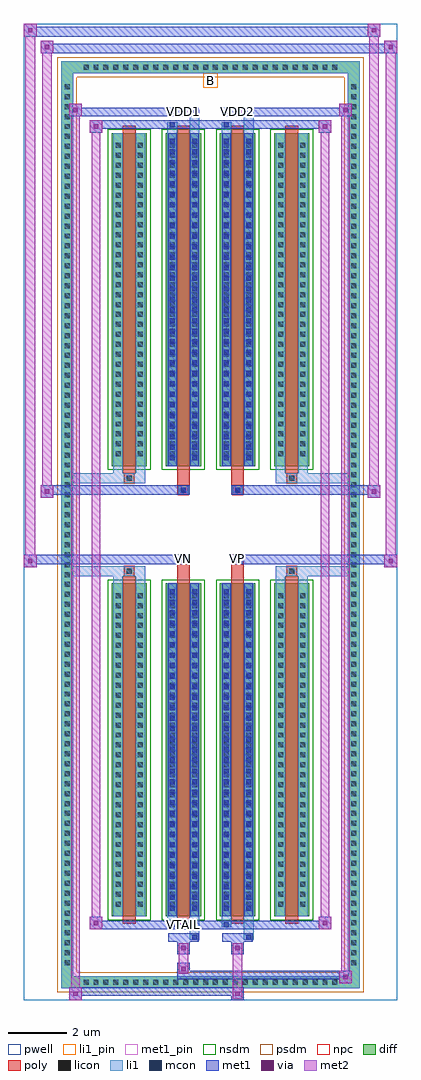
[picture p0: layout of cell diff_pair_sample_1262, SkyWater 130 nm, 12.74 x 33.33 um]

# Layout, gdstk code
import gdstk
lib = gdstk.Library(unit=1e-6, precision=5e-09)
def R(c, l, rs):  # rectangles x0, y0, x1, y1
    for r in rs: c.add(gdstk.rectangle(r[:2], r[2:], *l))
def A(c, l, x, y, w, h, nx, ny, dx, dy):  # array of equal rectangles
    R(c, l, [(x+i*dx, y+j*dy, x+i*dx+w, y+j*dy+h) for i in range(nx) for j in range(ny)])
def P(c, l, *ps):  # polygons
    for p in ps: c.add(gdstk.Polygon(p, *l))
pwell = (64, 44)
diff = (65, 20)
poly = (66, 20)
licon = (66, 44)
li1_pin = (67, 16)
li1 = (67, 20)
mcon = (67, 44)
met1_pin = (68, 16)
met1 = (68, 20)
via = (68, 44)
met2 = (69, 20)
nsdm = (93, 44)
psdm = (94, 20)
npc = (95, 20)

diff_pair_sample_1262 = lib.new_cell('diff_pair_sample_1262')
R(diff_pair_sample_1262, pwell, [(-6.37,-16.23,6.37,17.1), (-3.69,-14.42,-0.01,-0.82), (0.01,-14.42,3.69,-0.82), (-3.69,0.82,-0.01,14.42), (0.01,0.82,3.69,14.42)])
A(diff_pair_sample_1262, diff, -4.455, -15.83, 0.41, 0.41, 26, 2, 0.34, 31.25)
A(diff_pair_sample_1262, diff, -5.1, -15.165, 0.41, 0.41, 1, 89, 0, 0.34)
A(diff_pair_sample_1262, diff, 4.69, -15.165, 0.41, 0.41, 1, 89, 0, 0.34)
A(diff_pair_sample_1262, diff, -3.38, -13.375, 1.21, 11.37, 4, 2, 1.85, 15.38)
R(diff_pair_sample_1262, diff, [(-4.455,-15.83,4.455,-15.42), (-5.1,-15.165,-4.69,15.165), (4.69,-15.165,5.1,15.165), (-4.455,15.42,4.455,15.83)])
P(diff_pair_sample_1262, diff, [(5.1,15.83),(-5.1,15.83),(-5.1,-15.42),(-4.69,-15.42),(-4.69,15.42),(4.69,15.42),(4.69,-15.42),(-4.69,-15.42),(-5.1,-15.42),(-5.1,-15.83),(5.1,-15.83)])
A(diff_pair_sample_1262, poly, -2.99, -13.625, 0.43, 11.87, 4, 2, 1.85, 15.38)
R(diff_pair_sample_1262, poly, [(-2.94,-1.755,-2.61,-1.425), (-2.94,-1.755,-2.61,-1.425), (-1.14,-1.755,-0.71,-1.35), (0.71,-1.755,1.14,-1.35), (2.61,-1.755,2.94,-1.425), (2.61,-1.755,2.94,-1.425), (-1.14,-1.35,-0.71,-1.02), (-1.09,-1.35,-0.76,-1.02), (0.71,-1.35,1.14,-1.02), (0.76,-1.35,1.09,-1.02), (-1.14,1.02,-0.71,1.35), (-1.09,1.02,-0.76,1.35), (0.71,1.02,1.14,1.35), (0.76,1.02,1.09,1.35), (-1.14,1.35,-0.71,1.755), (0.71,1.35,1.14,1.755), (-2.94,1.425,-2.61,1.755), (-2.94,1.425,-2.61,1.755), (2.61,1.425,2.94,1.755), (2.61,1.425,2.94,1.755)])
A(diff_pair_sample_1262, licon, -4.335, -15.71, 0.17, 0.17, 26, 2, 0.34, 31.25)
A(diff_pair_sample_1262, licon, -4.98, -15.045, 0.17, 0.17, 1, 89, 0, 0.34)
A(diff_pair_sample_1262, licon, 4.81, -15.045, 0.17, 0.17, 1, 89, 0, 0.34)
A(diff_pair_sample_1262, licon, -3.24, -13.045, 0.17, 0.17, 1, 32, 0, 0.34)
A(diff_pair_sample_1262, licon, -2.48, -13.045, 0.17, 0.17, 1, 32, 0, 0.34)
A(diff_pair_sample_1262, licon, -1.39, -13.045, 0.17, 0.17, 1, 32, 0, 0.34)
A(diff_pair_sample_1262, licon, -0.63, -13.045, 0.17, 0.17, 1, 32, 0, 0.34)
A(diff_pair_sample_1262, licon, 0.46, -13.045, 0.17, 0.17, 1, 32, 0, 0.34)
A(diff_pair_sample_1262, licon, 1.22, -13.045, 0.17, 0.17, 1, 32, 0, 0.34)
A(diff_pair_sample_1262, licon, 2.31, -13.045, 0.17, 0.17, 1, 32, 0, 0.34)
A(diff_pair_sample_1262, licon, 3.07, -13.045, 0.17, 0.17, 1, 32, 0, 0.34)
A(diff_pair_sample_1262, licon, -3.24, 2.335, 0.17, 0.17, 1, 32, 0, 0.34)
A(diff_pair_sample_1262, licon, -2.48, 2.335, 0.17, 0.17, 1, 32, 0, 0.34)
A(diff_pair_sample_1262, licon, -1.39, 2.335, 0.17, 0.17, 1, 32, 0, 0.34)
A(diff_pair_sample_1262, licon, -0.63, 2.335, 0.17, 0.17, 1, 32, 0, 0.34)
A(diff_pair_sample_1262, licon, 0.46, 2.335, 0.17, 0.17, 1, 32, 0, 0.34)
A(diff_pair_sample_1262, licon, 1.22, 2.335, 0.17, 0.17, 1, 32, 0, 0.34)
A(diff_pair_sample_1262, licon, 2.31, 2.335, 0.17, 0.17, 1, 32, 0, 0.34)
A(diff_pair_sample_1262, licon, 3.07, 2.335, 0.17, 0.17, 1, 32, 0, 0.34)
R(diff_pair_sample_1262, licon, [(-2.86,-1.675,-2.69,-1.505), (2.69,-1.675,2.86,-1.505), (-1.01,-1.27,-0.84,-1.1), (0.84,-1.27,1.01,-1.1), (-1.01,1.1,-0.84,1.27), (0.84,1.1,1.01,1.27), (-2.86,1.505,-2.69,1.675), (2.69,1.505,2.86,1.675)])
R(diff_pair_sample_1262, li1_pin, [(-0.25,14.92,0.25,15.42)])
A(diff_pair_sample_1262, li1, -4.415, -15.79, 0.33, 0.33, 26, 2, 0.34, 31.25)
A(diff_pair_sample_1262, li1, -5.06, -15.125, 0.33, 0.33, 1, 89, 0, 0.34)
A(diff_pair_sample_1262, li1, 4.73, -15.125, 0.33, 0.33, 1, 89, 0, 0.34)
A(diff_pair_sample_1262, li1, -1.39, -13.175, 0.17, 0.17, 1, 31, 0, 0.36)
A(diff_pair_sample_1262, li1, -0.63, -13.175, 0.17, 0.17, 1, 31, 0, 0.36)
A(diff_pair_sample_1262, li1, 0.46, -13.175, 0.17, 0.17, 1, 31, 0, 0.36)
A(diff_pair_sample_1262, li1, 1.22, -13.175, 0.17, 0.17, 1, 31, 0, 0.36)
A(diff_pair_sample_1262, li1, -3.32, -13.125, 0.33, 0.33, 1, 32, 0, 0.34)
A(diff_pair_sample_1262, li1, -2.56, -13.125, 0.33, 0.33, 1, 32, 0, 0.34)
A(diff_pair_sample_1262, li1, -1.47, -13.125, 0.33, 0.33, 1, 32, 0, 0.34)
A(diff_pair_sample_1262, li1, -0.71, -13.125, 0.33, 0.33, 1, 32, 0, 0.34)
A(diff_pair_sample_1262, li1, 0.38, -13.125, 0.33, 0.33, 1, 32, 0, 0.34)
A(diff_pair_sample_1262, li1, 1.14, -13.125, 0.33, 0.33, 1, 32, 0, 0.34)
A(diff_pair_sample_1262, li1, 2.23, -13.125, 0.33, 0.33, 1, 32, 0, 0.34)
A(diff_pair_sample_1262, li1, 2.99, -13.125, 0.33, 0.33, 1, 32, 0, 0.34)
A(diff_pair_sample_1262, li1, -1.39, 2.205, 0.17, 0.17, 1, 31, 0, 0.36)
A(diff_pair_sample_1262, li1, -0.63, 2.205, 0.17, 0.17, 1, 31, 0, 0.36)
A(diff_pair_sample_1262, li1, 0.46, 2.205, 0.17, 0.17, 1, 31, 0, 0.36)
A(diff_pair_sample_1262, li1, 1.22, 2.205, 0.17, 0.17, 1, 31, 0, 0.36)
A(diff_pair_sample_1262, li1, -3.32, 2.255, 0.33, 0.33, 1, 32, 0, 0.34)
A(diff_pair_sample_1262, li1, -2.56, 2.255, 0.33, 0.33, 1, 32, 0, 0.34)
A(diff_pair_sample_1262, li1, -1.47, 2.255, 0.33, 0.33, 1, 32, 0, 0.34)
A(diff_pair_sample_1262, li1, -0.71, 2.255, 0.33, 0.33, 1, 32, 0, 0.34)
A(diff_pair_sample_1262, li1, 0.38, 2.255, 0.33, 0.33, 1, 32, 0, 0.34)
A(diff_pair_sample_1262, li1, 1.14, 2.255, 0.33, 0.33, 1, 32, 0, 0.34)
A(diff_pair_sample_1262, li1, 2.23, 2.255, 0.33, 0.33, 1, 32, 0, 0.34)
A(diff_pair_sample_1262, li1, 2.99, 2.255, 0.33, 0.33, 1, 32, 0, 0.34)
R(diff_pair_sample_1262, li1, [(-5.1,-15.83,-4.69,-15.42), (-5.1,-15.83,-4.69,-15.42), (-4.69,-15.83,4.69,-15.42), (4.69,-15.83,5.1,-15.42), (4.69,-15.83,5.1,-15.42), (-5.1,-15.42,-4.69,15.42), (4.69,-15.42,5.1,15.42), (-0.71,-14.18,-0.38,-13.375), (-0.63,-14.18,-0.46,-14.01), (1.14,-14.18,1.47,-13.375), (1.22,-14.18,1.39,-14.01), (-1.47,-13.75,-1.14,-13.375), (-1.39,-13.75,-1.22,-13.58), (0.38,-13.75,0.71,-13.375), (0.46,-13.75,0.63,-13.58), (-3.32,-13.375,-2.99,-2.005), (-2.56,-13.375,-2.23,-2.005), (-1.47,-13.375,-1.14,-2.005), (-0.71,-13.375,-0.38,-2.005), (0.38,-13.375,0.71,-2.005), (1.14,-13.375,1.47,-2.005), (2.23,-13.375,2.56,-2.005), (2.99,-13.375,3.32,-2.005), (-1.39,-13.175,-1.22,-2.205), (-0.63,-13.175,-0.46,-2.205), (0.46,-13.175,0.63,-2.205), (1.22,-13.175,1.39,-2.205), (-3.32,-2.005,-2.99,-1.425), (-2.56,-2.005,-2.23,-1.425), (2.23,-2.005,2.56,-1.425), (2.99,-2.005,3.32,-1.425), (-5.1,-1.755,-2.94,-1.425), (-3.32,-1.755,-2.94,-1.425), (-2.94,-1.755,-2.61,-1.425), (-2.61,-1.755,-2.23,-1.425), (2.23,-1.755,2.61,-1.425), (2.61,-1.755,2.94,-1.425), (2.61,-1.755,5.1,-1.425), (2.94,-1.755,3.32,-1.425), (-1.09,-1.35,-0.76,-1.02), (0.76,-1.35,1.09,-1.02), (-1.09,1.02,-0.76,1.35), (0.76,1.02,1.09,1.35), (-5.1,1.425,-2.94,1.755), (-3.32,1.425,-2.94,1.755), (-3.32,1.425,-2.99,2.005), (-2.94,1.425,-2.61,1.755), (-2.61,1.425,-2.23,1.755), (-2.56,1.425,-2.23,2.005), (2.23,1.425,2.61,1.755), (2.23,1.425,2.56,2.005), (2.61,1.425,2.94,1.755), (2.61,1.425,5.1,1.755), (2.94,1.425,3.32,1.755), (2.99,1.425,3.32,2.005), (-3.32,2.005,-2.99,13.375), (-2.56,2.005,-2.23,13.375), (-1.47,2.005,-1.14,13.375), (-0.71,2.005,-0.38,13.375), (0.38,2.005,0.71,13.375), (1.14,2.005,1.47,13.375), (2.23,2.005,2.56,13.375), (2.99,2.005,3.32,13.375), (-1.39,2.205,-1.22,13.175), (-0.63,2.205,-0.46,13.175), (0.46,2.205,0.63,13.175), (1.22,2.205,1.39,13.175), (-1.47,13.375,-1.14,13.75), (-0.71,13.375,-0.38,14.18), (0.38,13.375,0.71,13.75), (1.14,13.375,1.47,14.18), (-1.39,13.58,-1.22,13.75), (0.46,13.58,0.63,13.75), (-0.63,14.01,-0.46,14.18), (1.22,14.01,1.39,14.18), (-5.1,15.42,-4.69,15.83), (-5.1,15.42,-4.69,15.83), (-4.69,15.42,4.69,15.83), (4.69,15.42,5.1,15.83), (4.69,15.42,5.1,15.83)])
A(diff_pair_sample_1262, mcon, -1.39, -13.175, 0.17, 0.17, 1, 31, 0, 0.36)
A(diff_pair_sample_1262, mcon, -0.63, -13.175, 0.17, 0.17, 1, 31, 0, 0.36)
A(diff_pair_sample_1262, mcon, 0.46, -13.175, 0.17, 0.17, 1, 31, 0, 0.36)
A(diff_pair_sample_1262, mcon, 1.22, -13.175, 0.17, 0.17, 1, 31, 0, 0.36)
A(diff_pair_sample_1262, mcon, -1.39, 2.205, 0.17, 0.17, 1, 31, 0, 0.36)
A(diff_pair_sample_1262, mcon, -0.63, 2.205, 0.17, 0.17, 1, 31, 0, 0.36)
A(diff_pair_sample_1262, mcon, 0.46, 2.205, 0.17, 0.17, 1, 31, 0, 0.36)
A(diff_pair_sample_1262, mcon, 1.22, 2.205, 0.17, 0.17, 1, 31, 0, 0.36)
R(diff_pair_sample_1262, mcon, [(-0.63,-14.18,-0.46,-14.01), (1.22,-14.18,1.39,-14.01), (-1.39,-13.75,-1.22,-13.58), (0.46,-13.75,0.63,-13.58), (-1.01,-1.27,-0.84,-1.1), (0.84,-1.27,1.01,-1.1), (-1.01,1.1,-0.84,1.27), (0.84,1.1,1.01,1.27), (-1.39,13.58,-1.22,13.75), (0.46,13.58,0.63,13.75), (-0.63,14.01,-0.46,14.18), (1.22,14.01,1.39,14.18)])
R(diff_pair_sample_1262, met1_pin, [(-1.06,-13.79,-0.79,-13.52), (-1.06,-1.29,-0.79,-1.02), (0.79,-1.29,1.06,-1.02), (-1.06,13.97,-0.79,14.24), (0.79,13.97,1.06,14.24)])
A(diff_pair_sample_1262, met1, -1.45, -13.235, 0.29, 0.29, 1, 31, 0, 0.36)
A(diff_pair_sample_1262, met1, -0.69, -13.235, 0.29, 0.29, 1, 31, 0, 0.36)
A(diff_pair_sample_1262, met1, 0.4, -13.235, 0.29, 0.29, 1, 31, 0, 0.36)
A(diff_pair_sample_1262, met1, 1.16, -13.235, 0.29, 0.29, 1, 31, 0, 0.36)
A(diff_pair_sample_1262, met1, -1.45, 2.145, 0.29, 0.29, 1, 31, 0, 0.36)
A(diff_pair_sample_1262, met1, -0.69, 2.145, 0.29, 0.29, 1, 31, 0, 0.36)
A(diff_pair_sample_1262, met1, 0.4, 2.145, 0.29, 0.29, 1, 31, 0, 0.36)
A(diff_pair_sample_1262, met1, 1.16, 2.145, 0.29, 0.29, 1, 31, 0, 0.36)
R(diff_pair_sample_1262, met1, [(-4.83,-16.23,-4.4,-15.8), (0.71,-16.23,1.14,-15.8), (-4.83,-16.09,1.14,-15.8), (4.4,-15.66,4.83,-15.23), (-1.14,-15.52,4.83,-15.23), (-1.14,-15.38,-0.71,-14.95), (-1.14,-14.67,-0.71,-14.24), (0.71,-14.67,1.14,-14.24), (-1.45,-14.24,-0.4,-13.95), (-0.69,-14.24,-0.4,-13.95), (0.4,-14.24,1.45,-13.95), (1.16,-14.24,1.45,-13.95), (-4.12,-13.81,-3.69,-13.38), (-4.12,-13.81,-1.45,-13.52), (-1.45,-13.81,-1.16,-13.52), (-1.45,-13.81,-0.4,-13.52), (-0.4,-13.81,0.4,-13.52), (0.4,-13.81,0.69,-13.52), (0.4,-13.81,1.45,-13.52), (1.45,-13.81,4.12,-13.52), (3.69,-13.81,4.12,-13.38), (-1.45,-13.375,-1.16,-2.005), (-0.69,-13.375,-0.4,-2.005), (0.4,-13.375,0.69,-2.005), (1.16,-13.375,1.45,-2.005), (-6.37,-1.45,-5.94,-1.02), (5.94,-1.45,6.37,-1.02), (-6.37,-1.35,-0.71,-1.02), (-1.14,-1.35,-0.71,-1.02), (0.71,-1.35,1.14,-1.02), (0.71,-1.35,6.37,-1.02), (-1.07,-1.33,-0.78,-1.04), (0.78,-1.33,1.07,-1.04), (-5.8,0.92,-5.37,1.35), (5.37,0.92,5.8,1.35), (-5.8,1.02,-1.14,1.35), (-1.14,1.02,-0.71,1.35), (0.71,1.02,1.14,1.35), (1.14,1.02,5.8,1.35), (-1.07,1.04,-0.78,1.33), (0.78,1.04,1.07,1.33), (-1.45,2.005,-1.16,13.375), (-0.69,2.005,-0.4,13.375), (0.4,2.005,0.69,13.375), (1.16,2.005,1.45,13.375), (-4.12,13.38,-3.69,13.81), (3.69,13.38,4.12,13.81), (-4.12,13.52,-1.45,13.81), (-1.45,13.52,-1.16,13.81), (-1.45,13.52,-0.4,13.81), (-0.4,13.52,0.4,13.81), (0.4,13.52,0.69,13.81), (0.4,13.52,1.45,13.81), (1.45,13.52,4.12,13.81), (-4.83,13.95,-4.4,14.38), (-4.83,13.95,-1.45,14.24), (-1.45,13.95,-0.4,14.24), (-0.69,13.95,-0.4,14.24), (0.4,13.95,1.45,14.24), (1.16,13.95,1.45,14.24), (1.45,13.95,4.83,14.24), (4.4,13.95,4.83,14.38), (-5.8,16.1,-5.37,16.53), (-5.8,16.1,-3.69,16.43), (-3.69,16.1,3.69,16.43), (3.69,16.1,6.37,16.43), (5.94,16.1,6.37,16.53), (-6.37,16.67,-5.94,17.1), (-6.37,16.67,-3.69,17), (-3.69,16.67,3.69,17), (3.69,16.67,5.8,17), (5.37,16.67,5.8,17.1)])
R(diff_pair_sample_1262, via, [(-4.69,-16.09,-4.54,-15.94), (0.85,-16.09,1,-15.94), (4.54,-15.52,4.69,-15.37), (-1,-15.24,-0.85,-15.09), (-1,-14.53,-0.85,-14.38), (0.85,-14.53,1,-14.38), (-3.98,-13.67,-3.83,-13.52), (3.83,-13.67,3.98,-13.52), (-6.23,-1.31,-6.08,-1.16), (6.08,-1.31,6.23,-1.16), (-5.66,1.06,-5.51,1.21), (5.51,1.06,5.66,1.21), (-3.98,13.52,-3.83,13.67), (3.83,13.52,3.98,13.67), (-4.69,14.09,-4.54,14.24), (4.54,14.09,4.69,14.24), (-5.66,16.24,-5.51,16.39), (6.08,16.24,6.23,16.39), (-6.23,16.81,-6.08,16.96), (5.51,16.81,5.66,16.96)])
R(diff_pair_sample_1262, met2, [(-4.83,-16.23,-4.4,-15.8), (-4.76,-16.23,-4.47,14.38), (-4.47,-16.23,-4.4,-15.8), (-4.78,-16.18,-4.45,-15.85), (0.76,-16.18,1.09,-15.85), (0.76,-15.85,1.09,-14.62), (4.4,-15.66,4.83,-15.23), (4.47,-15.66,4.76,14.38), (4.76,-15.66,4.83,-15.23), (4.45,-15.61,4.78,-15.28), (-1.09,-15.33,-0.76,-15), (-1.09,-15,-0.76,-14.62), (-1.09,-14.62,-0.76,-14.29), (0.76,-14.62,1.09,-14.29), (-4.12,-13.81,-3.69,-13.38), (-4.05,-13.81,-3.76,13.81), (-3.76,-13.81,-3.69,-13.38), (3.69,-13.81,4.12,-13.38), (3.76,-13.81,4.05,13.81), (4.05,-13.81,4.12,-13.38), (-4.07,-13.76,-3.74,-13.43), (3.74,-13.76,4.07,-13.43), (-6.37,-1.45,-5.94,-1.02), (-6.32,-1.45,-5.99,17.1), (-5.99,-1.45,-5.94,-1.02), (5.94,-1.45,6.37,-1.02), (5.99,-1.45,6.32,16.53), (6.32,-1.45,6.37,-1.02), (-6.32,-1.4,-5.99,-1.07), (5.99,-1.4,6.32,-1.07), (-5.8,0.92,-5.37,1.35), (-5.75,0.92,-5.42,16.53), (-5.42,0.92,-5.37,1.35), (5.37,0.92,5.8,1.35), (5.42,0.92,5.75,17.1), (5.75,0.92,5.8,1.35), (-5.75,0.97,-5.42,1.3), (5.42,0.97,5.75,1.3), (-4.12,13.38,-3.69,13.81), (-3.76,13.38,-3.69,13.81), (3.69,13.38,4.12,13.81), (4.05,13.38,4.12,13.81), (-4.07,13.43,-3.74,13.76), (3.74,13.43,4.07,13.76), (-4.83,13.95,-4.4,14.38), (-4.47,13.95,-4.4,14.38), (4.4,13.95,4.83,14.38), (4.76,13.95,4.83,14.38), (-4.78,14,-4.45,14.33), (4.45,14,4.78,14.33), (-5.8,16.1,-5.37,16.53), (-5.42,16.1,-5.37,16.53), (5.94,16.1,6.37,16.53), (6.32,16.1,6.37,16.53), (-5.75,16.15,-5.42,16.48), (5.99,16.15,6.32,16.48), (-6.37,16.67,-5.94,17.1), (-5.99,16.67,-5.94,17.1), (5.37,16.67,5.8,17.1), (5.75,16.67,5.8,17.1), (-6.32,16.72,-5.99,17.05), (5.42,16.72,5.75,17.05)])
A(diff_pair_sample_1262, nsdm, -3.51, -13.505, 1.47, 11.63, 4, 2, 1.85, 15.38)
P(diff_pair_sample_1262, psdm, [(5.23,15.96),(-5.23,15.96),(-5.23,-15.29),(-4.56,-15.29),(-4.56,15.29),(4.56,15.29),(4.56,-15.29),(-4.56,-15.29),(-5.23,-15.29),(-5.23,-15.96),(5.23,-15.96)])
R(diff_pair_sample_1262, npc, [(-2.96,-1.775,-2.59,-1.405), (2.59,-1.775,2.96,-1.405), (-1.11,-1.37,-0.74,-1), (0.74,-1.37,1.11,-1), (-1.11,1,-0.74,1.37), (0.74,1,1.11,1.37), (-2.96,1.405,-2.59,1.775), (2.59,1.405,2.96,1.775)])
diff_pair_sample_1262.add(gdstk.Label('VTAIL', (-0.925,-13.655), layer=68, texttype=5))
diff_pair_sample_1262.add(gdstk.Label('VN', (-0.925,-1.155), layer=68, texttype=5))
diff_pair_sample_1262.add(gdstk.Label('VP', (0.925,-1.155), layer=68, texttype=5))
diff_pair_sample_1262.add(gdstk.Label('B', (0,15.17), layer=67, texttype=5))
diff_pair_sample_1262.add(gdstk.Label('VDD2', (0.925,14.105), layer=68, texttype=5))
diff_pair_sample_1262.add(gdstk.Label('VDD1', (-0.925,14.105), layer=68, texttype=5))

lib.write_gds('diff_pair_sample_1262.gds')
